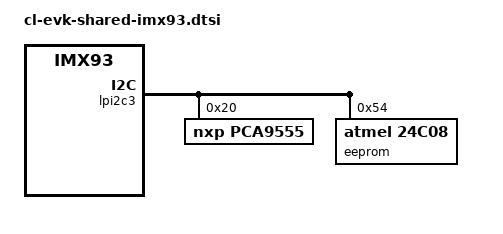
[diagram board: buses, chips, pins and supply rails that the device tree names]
// SPDX-License-Identifier: (GPL-2.0+ OR MIT)
// Copyright 2025 Compulab

#include "cl-som-shared-imx93.dtsi"

/{
	aliases {
		ethernet1 = &fec;
	};

};

&lpi2c3 {
        pca9555:pca9555@20 {
                compatible = "nxp,pca9555";
                gpio-controller;
                #gpio-cells = <2>;
                reg = <0x20>;
        };

	eeprom@54 {
		compatible = "atmel,24c08";
		reg = <0x54>;
		pagesize = <16>;
	};
};

&fec {
	pinctrl-names = "default";
	pinctrl-0 = <&pinctrl_fec>;
	phy-mode = "rgmii-id";
	phy-handle = <&ethphy2>;
	fsl,magic-packet;
	status = "disabled";

	mdio {
		#address-cells = <1>;
		#size-cells = <0>;
		clock-frequency = <5000000>;

		ethphy2: ethernet-phy-fec@5 {
			compatible = "ethernet-phy-ieee802.3-c22";
			reg = <5>;
			eee-broken-1000t;
		};
	};
};

&iomuxc {
	pinctrl_fec: fecgrp {
		fsl,pins = <
			MX93_PAD_ENET2_MDC__ENET1_MDC			0x57e
			MX93_PAD_ENET2_MDIO__ENET1_MDIO			0x57e
			MX93_PAD_ENET2_RD0__ENET1_RGMII_RD0		0x57e
			MX93_PAD_ENET2_RD1__ENET1_RGMII_RD1		0x57e
			MX93_PAD_ENET2_RD2__ENET1_RGMII_RD2		0x57e
			MX93_PAD_ENET2_RD3__ENET1_RGMII_RD3		0x57e
			MX93_PAD_ENET2_RXC__ENET1_RGMII_RXC		0x5fe
			MX93_PAD_ENET2_RX_CTL__ENET1_RGMII_RX_CTL	0x57e
			MX93_PAD_ENET2_TD0__ENET1_RGMII_TD0		0x57e
			MX93_PAD_ENET2_TD1__ENET1_RGMII_TD1		0x57e
			MX93_PAD_ENET2_TD2__ENET1_RGMII_TD2		0x57e
			MX93_PAD_ENET2_TD3__ENET1_RGMII_TD3		0x57e
			MX93_PAD_ENET2_TXC__ENET1_RGMII_TXC		0x5fe
			MX93_PAD_ENET2_TX_CTL__ENET1_RGMII_TX_CTL	0x57e
		>;
	};
};

#if IS_ENABLED(CONFIG_VIDEO_IMX93_LVDS)
#include "cl-imx93-lvds.dtsi"
#endif
